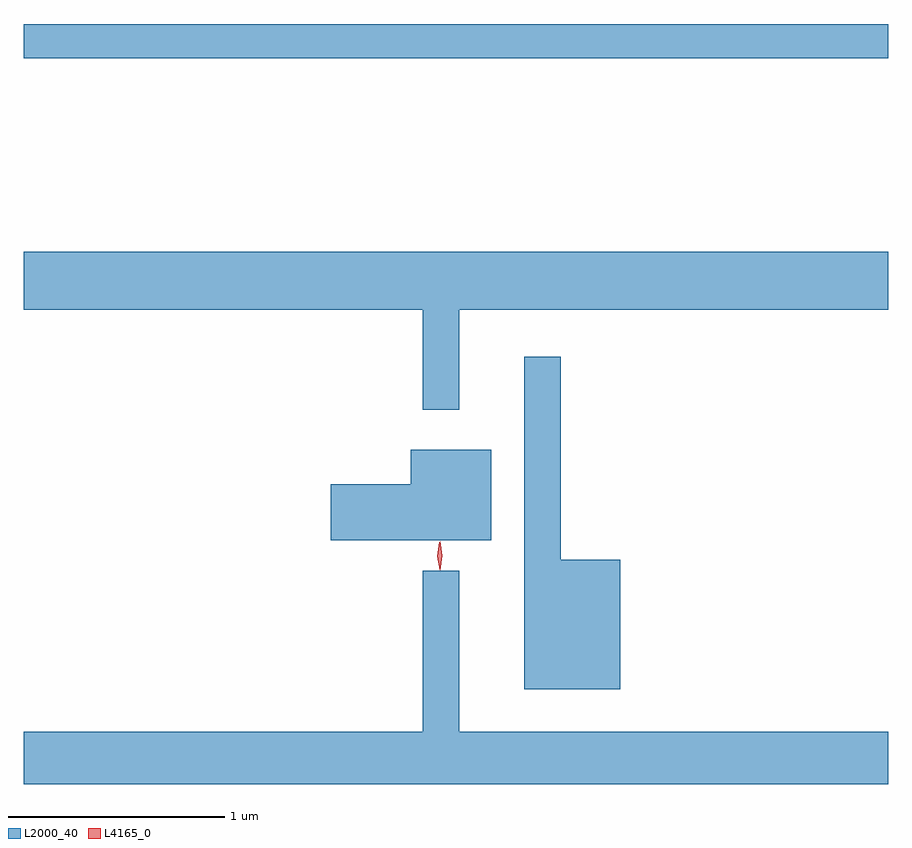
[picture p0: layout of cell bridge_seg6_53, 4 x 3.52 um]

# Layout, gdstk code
import gdstk
lib = gdstk.Library(unit=1e-6, precision=1e-09)
def R(c, l, rs):  # rectangles x0, y0, x1, y1
    for r in rs: c.add(gdstk.rectangle(r[:2], r[2:], *l))
def P(c, l, *ps):  # polygons
    for p in ps: c.add(gdstk.Polygon(p, *l))
L2000_40 = (2000, 40)
L4165_0 = (4165, 0)

bridge_seg6_53 = lib.new_cell('bridge_seg6_53')
R(bridge_seg6_53, L2000_40, [(1664.645,1584.501,1668.645,1584.659)])
P(bridge_seg6_53, L2000_40, [(1666.659,1583.336),(1668.645,1583.336),(1668.645,1583.604),(1664.645,1583.604),(1664.645,1583.336),(1666.491,1583.336),(1666.491,1582.873),(1666.659,1582.873)],
  [(1667.404,1582.179),(1667.129,1582.179),(1667.129,1583.118),(1666.961,1583.118),(1666.961,1581.581),(1667.404,1581.581)],
  [(1666.809,1582.689),(1666.436,1582.689),(1666.436,1582.529),(1666.066,1582.529),(1666.066,1582.271),(1666.809,1582.271)],
  [(1668.645,1581.384),(1666.659,1581.384),(1666.659,1582.128),(1666.491,1582.128),(1666.491,1581.384),(1664.645,1581.384),(1664.645,1581.142),(1668.645,1581.142)])
P(bridge_seg6_53, L4165_0, [(1666.569,1582.133),(1666.569,1582.134),(1666.559,1582.196),(1666.568,1582.26),(1666.569,1582.26),(1666.569,1582.26),(1666.579,1582.196),(1666.57,1582.134)],
  [(1666.572,1582.13),(1666.572,1582.13),(1666.562,1582.198),(1666.572,1582.266),(1666.572,1582.266),(1666.573,1582.266),(1666.582,1582.198),(1666.573,1582.13)])

lib.write_gds('bridge_seg6_53.gds')
